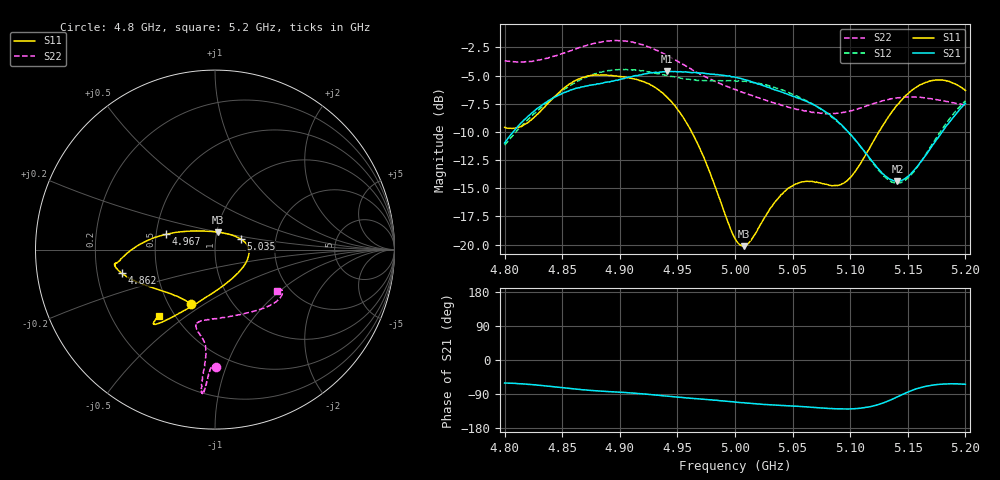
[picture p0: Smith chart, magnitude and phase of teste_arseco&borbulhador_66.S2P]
! Network Analyzer HP8722D
! Hewlett-Packard
! Data name: Linha & Wilkinson
! Saver's name: Rodrigo Anjos
! Comments: Teste da utilização de aquisição
! continua pelo VNA HP8722D
! Time and date: 15/4/2025 16:11
!  Frequency  S11  S21  S12  S22
# HZ  S  MA R 50
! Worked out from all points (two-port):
!   401 points, 4.8 GHz to 5.2 GHz, reference 50 ohm
!   highest |S21| = -4.63 dB at 4.941 GHz (marker M1); lowest = -14.4 dB at 5.141 GHz (marker M2)
!   |S21| within 3 dB of the highest: 4.832 GHz to 5.069 GHz (236.9 MHz wide, 4.78 % of centre); 5.198446 GHz to end of sweep
!   lowest |S11| = -20.1 dB at 5.008 GHz (marker M3), VSWR 1.22, Z = 50.8 + j9.93 ohm
!   |S11| at or under -10 dB: 4.962 GHz to 5.125 GHz (162.5 MHz wide, 3.22 % of centre)
!   |S22| runs from -8.4 to -1.9 dB; largest |S21 - S12| = 0.88
!   S11 on the Smith chart (normalised r, x): 4.8 GHz: 0.65, -0.44; 4.862 GHz: 0.31, -0.11; 4.967 GHz: 0.57, +0.11; 5.035 GHz: 1.32, +0.16; 5.2 GHz: 0.41, -0.40
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4.8e9  0.3311 -113.8  0.2822 -60.7  0.2761 -175.0  0.6543 -89.6
4.819e9  0.3454 -133.6  0.3653 -63.7  0.3529 -173.3  0.649 -91.2
4.862e9  0.5363 -165.7  0.4943 -76.7  0.5269 -176.4  0.7393 -93.4
4.867e9  0.5497 -167.6  0.501 -78.4  0.5412 -177.4  0.7537 -93.8
4.898e9  0.5587 -172.1  0.5354 -84.5  0.5959 176.0  0.8039 -94.9
4.934e9  0.4849 -178.1  0.5815 -93.3  0.5732 171.9  0.7196 -95.6
4.941e9  0.4505 178.9  0.5866 -95.3  0.5621 171.8  0.6912 -95.4
4.954e9  0.3734 171.7  0.5838 -98.9  0.5462 172.5  0.6345 -95.2
4.967e9  0.2843 162.4  0.5785 -102.2  0.5345 173.9  0.5803 -95.0
5e9  0.1063 107.0  0.5529 -111.0  0.5336 176.4  0.4874 -99.2
5.008e9  0.09834 79.8  0.5395 -112.9  0.5304 176.2  0.4708 -101.2
5.035e9  0.155 22.7  0.4851 -119.0  0.4964 175.0  0.4238 -103.8
5.05e9  0.182 6.8  0.4557 -121.6  0.4641 174.5  0.4027 -100.4
5.067e9  0.1906 -11.4  0.4197 -124.9  0.422 174.0  0.3855 -91.9
5.086e9  0.1829 -41.9  0.3637 -128.4  0.3612 173.8  0.3818 -77.7
5.097e9  0.1911 -65.0  0.3212 -129.2  0.3197 174.4  0.3889 -68.5
5.134e9  0.3739 -116.1  0.1954 -106.9  0.1923 -159.6  0.4417 -43.4
5.141e9  0.4172 -120.1  0.1905 -97.1  0.1872 -148.9  0.448 -40.2
5.153e9  0.4816 -125.1  0.2072 -81.2  0.204 -130.2  0.4517 -35.9
5.17e9  0.533 -128.6  0.2682 -67.1  0.2728 -113.1  0.4443 -32.1
5.184e9  0.5319 -130.0  0.3391 -63.0  0.3495 -107.2  0.4314 -31.1
5.2e9  0.4828 -130.4  0.4233 -64.1  0.4346 -106.1  0.4154 -33.4
